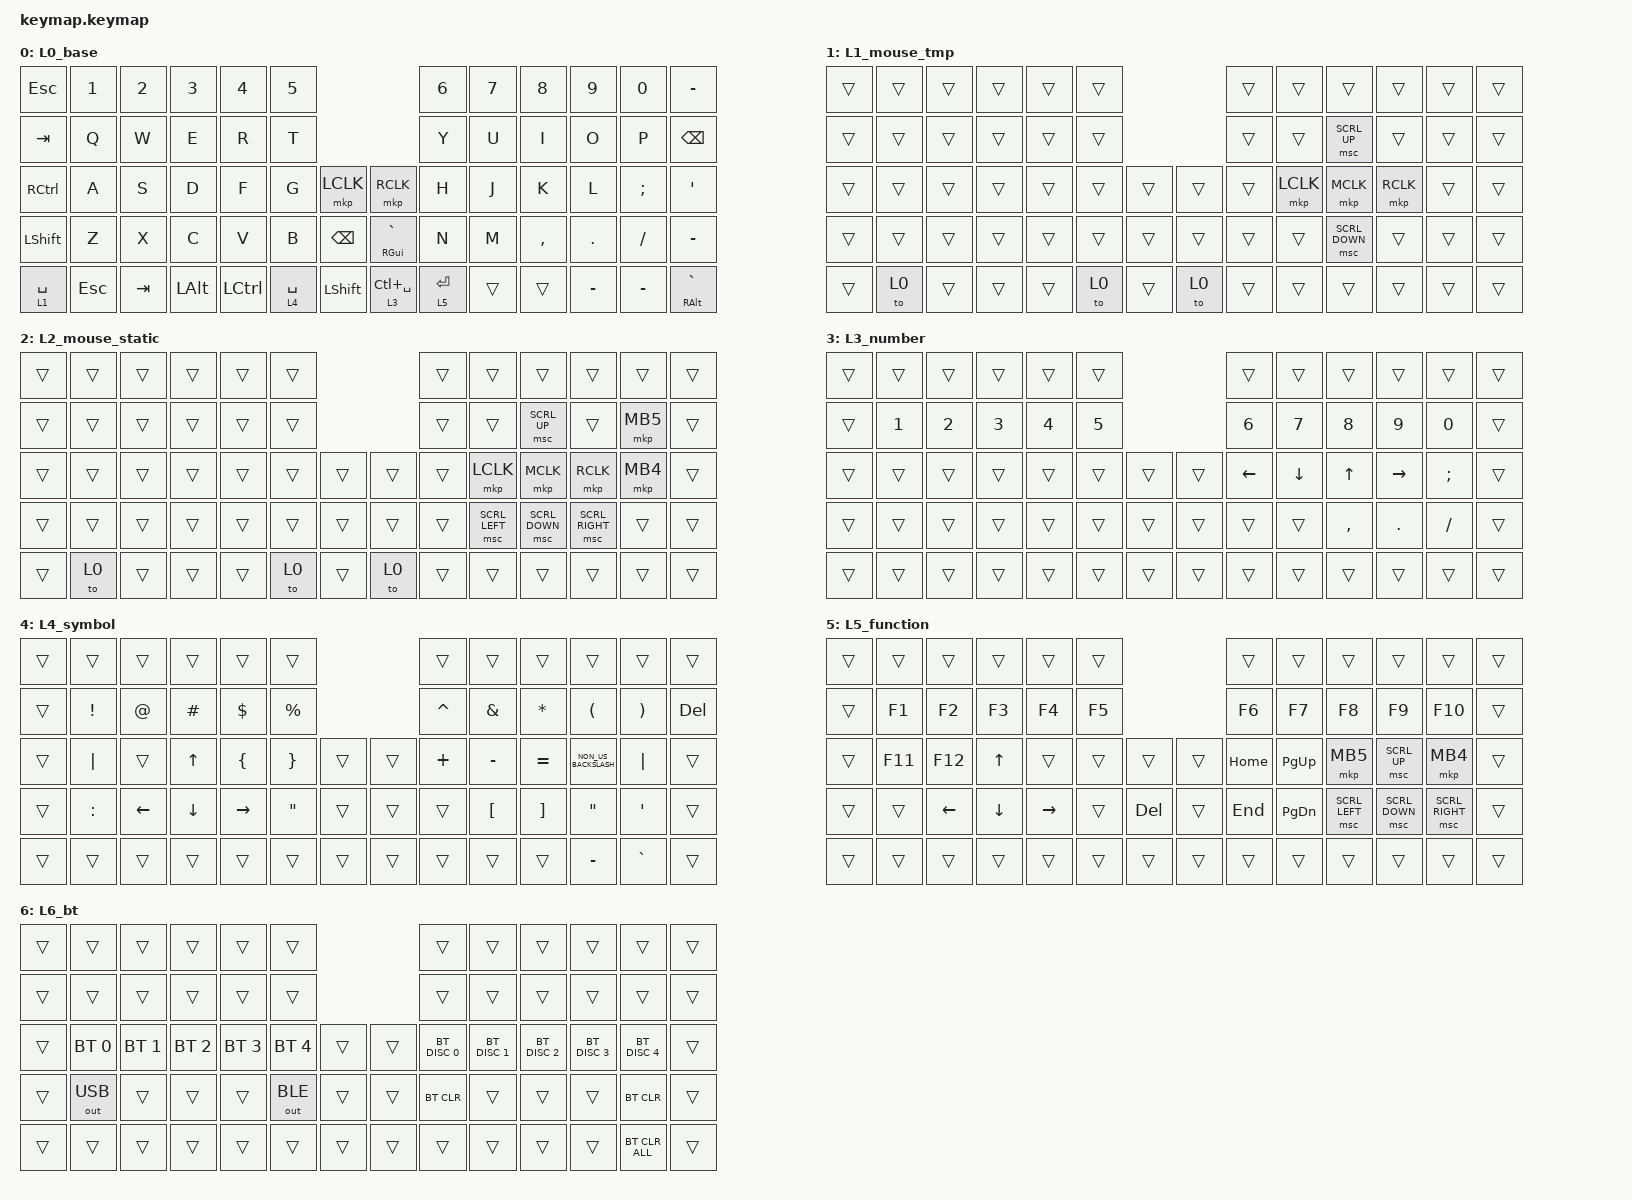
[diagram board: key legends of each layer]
#define ZMK_POINTING_DEFAULT_SCRL_VAL 320

#include <behaviors.dtsi>
#include <dt-bindings/zmk/bt.h>
#include <dt-bindings/zmk/keys.h>
#include <dt-bindings/zmk/outputs.h>
#include <dt-bindings/zmk/pointing.h>

/ {
    combos {
        compatible = "zmk,combos";

        mouseButton {
            bindings = <&none>;
            key-positions = <35 34 33 58 56 57 53 48 20 59>;
        };

        MoBTLayer {
            bindings = <&lt 6 LEFT_SHIFT>;
            key-positions = <58 59>;
        };

        Left_GUI2 {
            bindings = <&kp LEFT_GUI>;
            key-positions = <39 40>;
        };

        Right_GUI2 {
            bindings = <&kp RIGHT_GUI>;
            key-positions = <50 49>;
        };

        EnableMouseLayer {
            bindings = <&to 2>;
            key-positions = <27 28>;
        };

        LeftClick {
            bindings = <&mkp LCLK>;
            key-positions = <34 33>;
        };

        RightClick {
            bindings = <&mkp RCLK>;
            key-positions = <36 35>;
        };

        MiddleClick {
            bindings = <&mkp MCLK>;
            key-positions = <34 35>;
        };

        BackClick {
            bindings = <&mkp MB4>;
            key-positions = <49 48>;
        };

        ScrollDown {
            bindings = <&msc SCRL_DOWN>;
            key-positions = <47 48>;
        };

        ScrollUp {
            bindings = <&msc SCRL_UP>;
            key-positions = <20 19>;
        };

        ForwardClick {
            bindings = <&mkp MB5>;
            key-positions = <20 21>;
        };
    };

    keymap {
        compatible = "zmk,keymap";

        L0_base {
            bindings = <
&kp ESC      &kp N1      &kp N2   &kp N3        &kp N4            &kp N5                                            &kp N6       &kp N7  &kp N8     &kp N9     &kp N0         &kp MINUS
&kp TAB      &kp Q       &kp W    &kp E         &kp R             &kp T                                             &kp Y        &kp U   &kp I      &kp O      &kp P          &kp BSPC
&kp RCTRL    &kp A       &kp S    &kp D         &kp F             &kp G        &mkp LCLK       &mkp RCLK            &kp H        &kp J   &kp K      &kp L      &kp SEMICOLON  &kp SQT
&kp LSHFT    &kp Z       &kp X    &kp C         &kp V             &kp B        &kp BACKSPACE   &mt RIGHT_GUI GRAVE  &kp N        &kp M   &kp COMMA  &kp DOT    &kp SLASH      &kp MINUS
&lt 1 SPACE  &kp ESCAPE  &kp TAB  &kp LEFT_ALT  &kp LEFT_CONTROL  &lt 4 SPACE  &kp LEFT_SHIFT  &lt 3 LC(SPACE)      &lt 5 ENTER  &trans  &trans     &kp MINUS  &kp MINUS      &mt RIGHT_ALT GRAVE
            >;
        };

        L1_mouse_tmp {
            bindings = <
&trans  &trans  &trans  &trans  &trans  &trans                  &trans  &trans     &trans          &trans     &trans  &trans
&trans  &trans  &trans  &trans  &trans  &trans                  &trans  &trans     &msc SCRL_UP    &trans     &trans  &trans
&trans  &trans  &trans  &trans  &trans  &trans  &trans  &trans  &trans  &mkp LCLK  &mkp MCLK       &mkp RCLK  &trans  &trans
&trans  &trans  &trans  &trans  &trans  &trans  &trans  &trans  &trans  &trans     &msc SCRL_DOWN  &trans     &trans  &trans
&trans  &to 0   &trans  &trans  &trans  &to 0   &trans  &to 0   &trans  &trans     &trans          &trans     &trans  &trans
            >;
        };

        L2_mouse_static {
            bindings = <
&trans  &trans  &trans  &trans  &trans  &trans                  &trans  &trans          &trans          &trans           &trans    &trans
&trans  &trans  &trans  &trans  &trans  &trans                  &trans  &trans          &msc SCRL_UP    &trans           &mkp MB5  &trans
&trans  &trans  &trans  &trans  &trans  &trans  &trans  &trans  &trans  &mkp LCLK       &mkp MCLK       &mkp RCLK        &mkp MB4  &trans
&trans  &trans  &trans  &trans  &trans  &trans  &trans  &trans  &trans  &msc SCRL_LEFT  &msc SCRL_DOWN  &msc SCRL_RIGHT  &trans    &trans
&trans  &to 0   &trans  &trans  &trans  &to 0   &trans  &to 0   &trans  &trans          &trans          &trans           &trans    &trans
            >;
        };

        L3_number {
            bindings = <
&trans  &trans        &trans        &trans        &trans        &trans                        &trans          &trans          &trans        &trans           &trans         &trans
&trans  &kp NUMBER_1  &kp NUMBER_2  &kp NUMBER_3  &kp NUMBER_4  &kp NUMBER_5                  &kp NUMBER_6    &kp NUMBER_7    &kp NUMBER_8  &kp NUMBER_9     &kp NUMBER_0   &trans
&trans  &trans        &trans        &trans        &trans        &trans        &trans  &trans  &kp LEFT_ARROW  &kp DOWN_ARROW  &kp UP_ARROW  &kp RIGHT_ARROW  &kp SEMICOLON  &trans
&trans  &trans        &trans        &trans        &trans        &trans        &trans  &trans  &trans          &trans          &kp COMMA     &kp PERIOD       &kp SLASH      &trans
&trans  &trans        &trans        &trans        &trans        &trans        &trans  &trans  &trans          &trans          &trans        &trans           &trans         &trans
            >;
        };

        L4_symbol {
            bindings = <
&trans  &trans           &trans          &trans          &trans           &trans                             &trans     &trans            &trans             &trans                &trans                 &trans
&trans  &kp EXCLAMATION  &kp AT_SIGN     &kp POUND       &kp DOLLAR       &kp PERCENT                        &kp CARET  &kp AMPERSAND     &kp ASTERISK       &kp LEFT_PARENTHESIS  &kp RIGHT_PARENTHESIS  &kp DEL
&trans  &kp PIPE         &trans          &kp UP_ARROW    &kp LEFT_BRACE   &kp RIGHT_BRACE    &trans  &trans  &kp PLUS   &kp MINUS         &kp EQUAL          &kp NON_US_BACKSLASH  &kp PIPE               &trans
&trans  &kp COLON        &kp LEFT_ARROW  &kp DOWN_ARROW  &kp RIGHT_ARROW  &kp DOUBLE_QUOTES  &trans  &trans  &trans     &kp LEFT_BRACKET  &kp RIGHT_BRACKET  &kp DOUBLE_QUOTES     &kp SINGLE_QUOTE       &trans
&trans  &trans           &trans          &trans          &trans           &trans             &trans  &trans  &trans     &trans            &trans             &kp MINUS             &kp GRAVE              &trans
            >;
        };

        L5_function {
            bindings = <
&trans  &trans   &trans          &trans          &trans           &trans                      &trans    &trans         &trans          &trans          &trans           &trans
&trans  &kp F1   &kp F2          &kp F3          &kp F4           &kp F5                      &kp F6    &kp F7         &kp F8          &kp F9          &kp F10          &trans
&trans  &kp F11  &kp F12         &kp UP_ARROW    &trans           &trans  &trans      &trans  &kp HOME  &kp PG_UP      &mkp MB5        &msc SCRL_UP    &mkp MB4         &trans
&trans  &trans   &kp LEFT_ARROW  &kp DOWN_ARROW  &kp RIGHT_ARROW  &trans  &kp DELETE  &trans  &kp END   &kp PAGE_DOWN  &msc SCRL_LEFT  &msc SCRL_DOWN  &msc SCRL_RIGHT  &trans
&trans  &trans   &trans          &trans          &trans           &trans  &trans      &trans  &trans    &trans         &trans          &trans          &trans           &trans
            >;
        };

        L6_bt {
            bindings = <
&trans  &trans        &trans        &trans        &trans        &trans                        &trans         &trans         &trans         &trans         &trans          &trans
&trans  &trans        &trans        &trans        &trans        &trans                        &trans         &trans         &trans         &trans         &trans          &trans
&trans  &bt BT_SEL 0  &bt BT_SEL 1  &bt BT_SEL 2  &bt BT_SEL 3  &bt BT_SEL 4  &trans  &trans  &bt BT_DISC 0  &bt BT_DISC 1  &bt BT_DISC 2  &bt BT_DISC 3  &bt BT_DISC 4   &trans
&trans  &out OUT_USB  &trans        &trans        &trans        &out OUT_BLE  &trans  &trans  &bt BT_CLR     &trans         &trans         &trans         &bt BT_CLR      &trans
&trans  &trans        &trans        &trans        &trans        &trans        &trans  &trans  &trans         &trans         &trans         &trans         &bt BT_CLR_ALL  &trans
            >;
        };
    };
};
